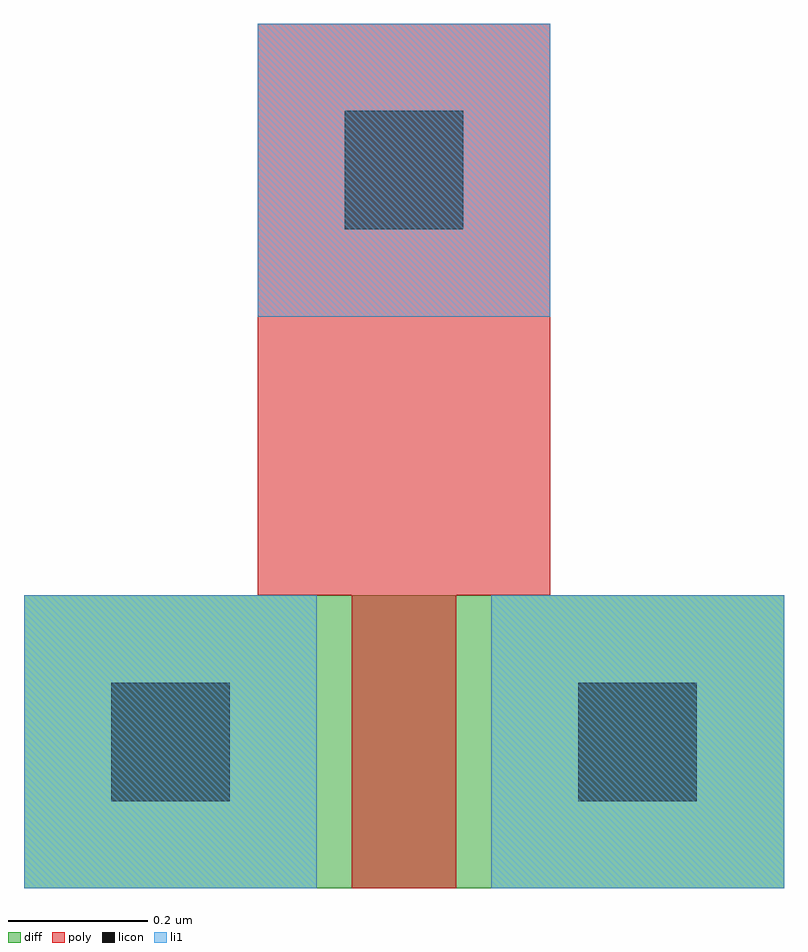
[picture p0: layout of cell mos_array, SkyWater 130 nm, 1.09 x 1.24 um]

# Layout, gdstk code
import gdstk
lib = gdstk.Library(unit=1e-6, precision=1e-09)
def R(c, l, rs):  # rectangles x0, y0, x1, y1
    for r in rs: c.add(gdstk.rectangle(r[:2], r[2:], *l))
diff = (65, 20)
poly = (66, 20)
licon = (66, 44)
li1 = (67, 20)

mos_array = lib.new_cell('mos_array')
R(mos_array, diff, [(0,0,1.09,0.42)])
R(mos_array, poly, [(0.47,0,0.62,0.42), (0.335,0.42,0.755,1.24)])
R(mos_array, licon, [(0.125,0.125,0.295,0.295), (0.795,0.125,0.965,0.295), (0.46,0.945,0.63,1.115)])
R(mos_array, li1, [(0,0,0.42,0.42), (0.67,0,1.09,0.42), (0.335,0.82,0.755,1.24)])

lib.write_gds('mos_array.gds')
